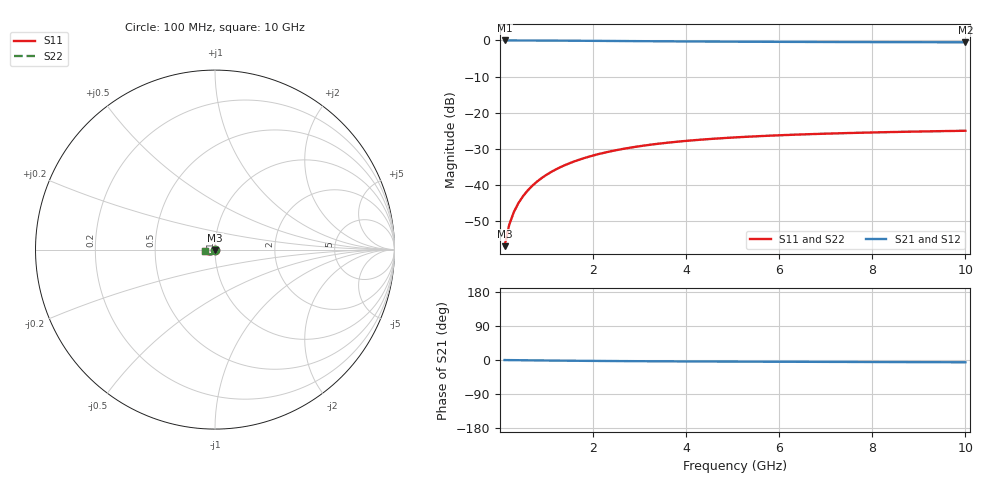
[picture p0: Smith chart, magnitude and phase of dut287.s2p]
! Touchstone file exported from HFSS 2024.1.0
!  File:  C:/UserFiles/LocalFiles/RDL_TSV_Batchsim/temp_TSV1_287_1779393888.aedt
!  Generated:  04:12:07 AM May 22, 2026
!  Design:  TSV1
!  Project:  temp_TSV1_287_1779393888
!  Setup:  Setup1
!  Solution:  Sweep
! Variables:
!  dtsv = 9.4um
!  hbump = 3um
!  htsv = 96.86um
!  lrdl = 252.1521522um
!  p = 40
!  p1 = 41.91um
!  t = 500um
!  trdl = 3um
!  wrdl = 24.89489489um
# GHz S MA R 50.000000
! Terminal data exported
! Port[1] = TSV22_T1
! Port[2] = TSV22_T2
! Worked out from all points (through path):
!   100 points, 100 MHz to 10 GHz, reference 50 ohm
!   highest |S21| = 0.00 dB at 100 MHz (marker M1); lowest = -0.5 dB at 10 GHz (marker M2)
!   lowest |S11| = -56.9 dB at 100 MHz (marker M3), VSWR 1.00, Z = 50 - j0.142 ohm
!   |S11| at or under -10 dB: start of sweep to end of sweep
!   |S22| runs from -56.9 to -25.0 dB; largest |S21 - S12| = 3e-15
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0.1  0.001425 -83.9  0.9998 -0.1  0.9998 -0.1  0.001425 -83.9
! Gamma 0 0 0 0
! Port Impedance 50 0 50 0
0.2  0.002835 -89.1  0.9996 -0.3  0.9996 -0.3  0.002835 -89.1
0.3  0.004249 -91.8  0.9994 -0.4  0.9994 -0.4  0.004249 -91.8
0.4  0.00566 -93.9  0.9991 -0.5  0.9991 -0.5  0.00566 -93.9
0.5  0.007064 -95.8  0.9988 -0.7  0.9988 -0.7  0.007064 -95.8
0.6  0.008457 -97.6  0.9984 -0.8  0.9984 -0.8  0.008457 -97.6
0.7  0.009834 -99.4  0.9979 -0.9  0.9979 -0.9  0.009834 -99.4
0.8  0.01119 -101.0  0.9973 -1.1  0.9973 -1.1  0.01119 -101.0
0.9  0.01253 -102.6  0.9967 -1.2  0.9967 -1.2  0.01253 -102.6
1.1  0.01515 -105.7  0.9954 -1.4  0.9954 -1.4  0.01515 -105.7
1.4  0.01888 -110.2  0.993 -1.8  0.993 -1.8  0.01888 -110.2
1.6  0.02123 -113.0  0.9913 -2.0  0.9913 -2.0  0.02123 -113.0
1.8  0.02347 -115.7  0.9894 -2.2  0.9894 -2.2  0.02347 -115.7
2.1  0.0266 -119.6  0.9865 -2.5  0.9865 -2.5  0.0266 -119.6
2.5  0.03035 -124.3  0.9826 -2.8  0.9826 -2.8  0.03035 -124.3
2.9  0.03366 -128.7  0.9787 -3.1  0.9787 -3.1  0.03366 -128.7
3.4  0.03722 -133.7  0.9741 -3.4  0.9741 -3.4  0.03722 -133.7
4.2  0.04181 -140.7  0.9675 -3.8  0.9675 -3.8  0.04182 -140.7
5.1  0.04575 -147.2  0.9613 -4.2  0.9613 -4.2  0.04575 -147.2
6.7  0.05061 -156.6  0.9531 -4.8  0.9531 -4.8  0.05061 -156.6
8.4  0.05402 -164.3  0.9471 -5.5  0.9471 -5.5  0.05402 -164.3
10  0.0563 -170.3  0.9432 -6.0  0.9432 -6.0  0.0563 -170.3
